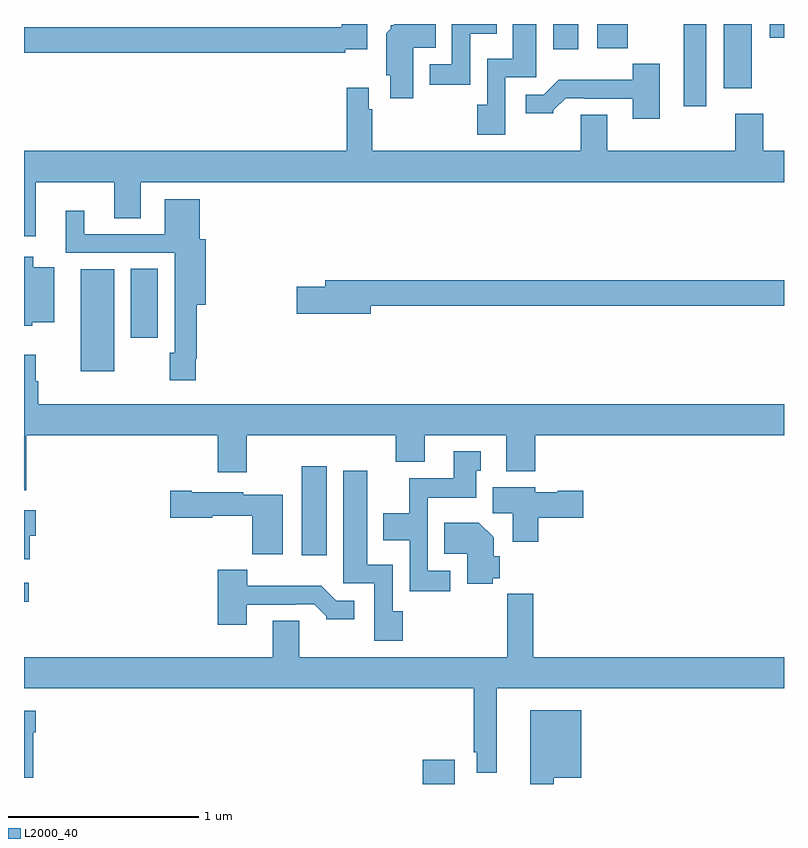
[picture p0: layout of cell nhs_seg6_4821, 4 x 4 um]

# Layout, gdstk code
import gdstk
lib = gdstk.Library(unit=1e-6, precision=1e-09)
def R(c, l, rs):  # rectangles x0, y0, x1, y1
    for r in rs: c.add(gdstk.rectangle(r[:2], r[2:], *l))
def P(c, l, *ps):  # polygons
    for p in ps: c.add(gdstk.Polygon(p, *l))
L2000_40 = (2000, 40)

nhs_seg6_4821 = lib.new_cell('nhs_seg6_4821')
R(nhs_seg6_4821, L2000_40, [(399.098,945.5,399.268,945.628), (397,946.459,397.024,946.56), (398.462,946.704,398.593,947.173), (397.298,947.672,397.474,948.208), (397.562,947.85,397.705,948.212), (400.472,949.068,400.591,949.5), (400.682,949.161,400.831,949.5), (399.785,949.368,399.916,949.5), (400.016,949.373,400.178,949.5), (400.925,949.428,401,949.5)])
P(nhs_seg6_4821, L2000_40, [(399.348,949.448),(399.487,949.448),(399.487,949.5),(399.252,949.5),(399.252,949.287),(399.135,949.287),(399.135,949.179),(399.348,949.179)],
  [(399.534,949.221),(399.697,949.221),(399.697,949.5),(399.572,949.5),(399.572,949.318),(399.438,949.318),(399.438,949.074),(399.386,949.074),(399.386,948.918),(399.534,948.918)],
  [(399.049,949.376),(399.167,949.376),(399.167,949.5),(398.949,949.5),(398.943,949.494),(398.931,949.494),(398.931,949.476),(398.906,949.451),(398.906,949.23),(398.927,949.23),(398.927,949.11),(399.049,949.11)],
  [(398.69,949.367),(398.806,949.367),(398.806,949.5),(398.672,949.5),(398.672,949.484),(397,949.484),(397,949.348),(398.69,949.348)],
  [(400.345,949.291),(400.203,949.291),(400.203,949.207),(399.814,949.207),(399.735,949.128),(399.642,949.128),(399.642,949.031),(399.786,949.031),(399.786,949.046),(399.85,949.11),(399.949,949.11),(399.949,949.107),(400.205,949.107),(400.205,949.002),(400.345,949.002)],
  [(397.063,948.668),(397.475,948.668),(397.475,948.478),(397.615,948.478),(397.615,948.668),(401,948.668),(401,948.832),(400.891,948.832),(400.891,949.027),(400.744,949.027),(400.744,948.832),(400.069,948.832),(400.069,949.022),(399.929,949.022),(399.929,948.832),(398.834,948.832),(398.834,949.052),(398.814,949.052),(398.814,949.165),(398.698,949.165),(398.698,948.832),(397,948.832),(397,948.384),(397.063,948.384)],
  [(397.903,947.737),(397.91,947.737),(397.91,948.023),(397.957,948.023),(397.957,948.367),(397.924,948.367),(397.924,948.577),(397.742,948.577),(397.742,948.393),(397.318,948.393),(397.318,948.517),(397.22,948.517),(397.22,948.297),(397.794,948.297),(397.794,947.769),(397.768,947.769),(397.768,947.625),(397.903,947.625)],
  [(397.044,947.93),(397.159,947.93),(397.159,948.22),(397.048,948.22),(397.048,948.274),(397,948.274),(397,947.912),(397.044,947.912)],
  [(398.824,948.016),(401,948.016),(401,948.152),(398.585,948.152),(398.585,948.116),(398.436,948.116),(398.436,947.974),(398.824,947.974)],
  [(397.013,947.336),(398.021,947.336),(398.021,947.142),(398.173,947.142),(398.173,947.336),(398.957,947.336),(398.957,947.195),(399.109,947.195),(399.109,947.336),(399.539,947.336),(399.539,947.147),(399.692,947.147),(399.692,947.336),(401,947.336),(401,947.5),(397.076,947.5),(397.076,947.621),(397.063,947.621),(397.063,947.758),(397,947.758),(397,947.046),(397.013,947.046)],
  [(399.244,946.623),(399.126,946.623),(399.126,947.006),(399.379,947.006),(399.379,947.148),(399.403,947.148),(399.403,947.251),(399.263,947.251),(399.263,947.11),(399.028,947.11),(399.028,946.924),(398.891,946.924),(398.891,946.784),(399.03,946.784),(399.03,946.515),(399.244,946.515)],
  [(398.993,946.41),(398.94,946.41),(398.94,946.654),(398.806,946.654),(398.806,947.149),(398.681,947.149),(398.681,946.557),(398.844,946.557),(398.844,946.254),(398.993,946.254)],
  [(399.707,946.901),(399.943,946.901),(399.943,947.043),(399.81,947.043),(399.81,947.035),(399.69,947.035),(399.69,947.062),(399.467,947.062),(399.467,946.924),(399.572,946.924),(399.572,946.776),(399.707,946.776)],
  [(398.362,947.023),(398.154,947.023),(398.154,947.035),(397.882,947.035),(397.882,947.043),(397.77,947.043),(397.77,946.901),(397.992,946.901),(397.992,946.913),(398.2,946.913),(398.2,946.709),(398.362,946.709)],
  [(397.03,946.806),(397.061,946.806),(397.061,946.942),(397,946.942),(397,946.682),(397.03,946.682)],
  [(399.468,946.584),(399.503,946.584),(399.503,946.698),(399.472,946.698),(399.472,946.798),(399.394,946.876),(399.211,946.876),(399.211,946.712),(399.332,946.712),(399.332,946.555),(399.468,946.555)],
  [(398.173,946.443),(398.429,946.443),(398.429,946.446),(398.528,946.446),(398.592,946.382),(398.592,946.367),(398.737,946.367),(398.737,946.464),(398.643,946.464),(398.565,946.543),(398.176,946.543),(398.176,946.627),(398.021,946.627),(398.021,946.338),(398.173,946.338)],
  [(399.487,946.004),(401,946.004),(401,946.168),(399.68,946.168),(399.68,946.501),(399.544,946.501),(399.544,946.168),(398.449,946.168),(398.449,946.358),(398.309,946.358),(398.309,946.168),(397,946.168),(397,946.004),(399.366,946.004),(399.366,945.667),(399.383,945.667),(399.383,945.56),(399.487,945.56)],
  [(399.787,945.533),(399.934,945.533),(399.934,945.889),(399.665,945.889),(399.665,945.5),(399.787,945.5)],
  [(397.048,945.773),(397.061,945.773),(397.061,945.886),(397,945.886),(397,945.534),(397.048,945.534)])

lib.write_gds('nhs_seg6_4821.gds')
